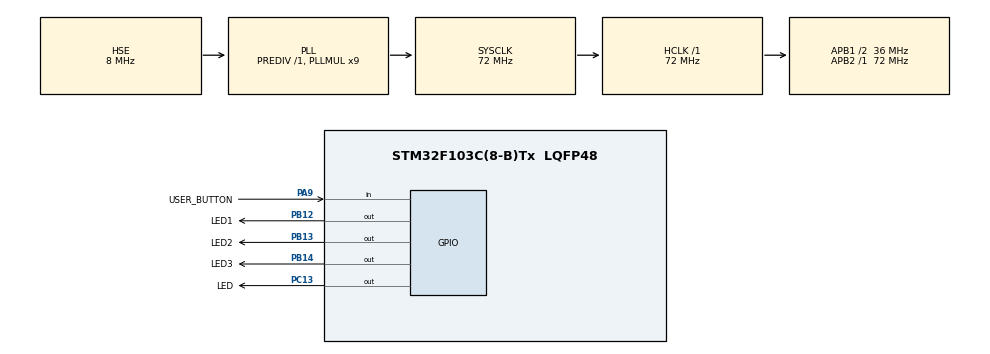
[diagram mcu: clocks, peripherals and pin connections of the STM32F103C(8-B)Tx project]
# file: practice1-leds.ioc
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Mcu.Family=STM32F1
Mcu.Name=STM32F103C(8-B)Tx
Mcu.Package=LQFP48
NVIC.PriorityGroup=NVIC_PRIORITYGROUP_4
PA9.GPIO_Label=USER_BUTTON
PA9.GPIO_PuPd=GPIO_NOPULL
PA9.Signal=GPIO_Input
PB12.GPIO_Label=LED1
PB12.Signal=GPIO_Output
PB13.GPIO_Label=LED2
PB13.Signal=GPIO_Output
PB14.GPIO_Label=LED3
PB14.Signal=GPIO_Output
PC13-TAMPER-RTC.GPIO_Label=LED
PC13-TAMPER-RTC.Signal=GPIO_Output
PD0-OSC_IN.Mode=HSE-External-Oscillator
PD0-OSC_IN.Signal=RCC_OSC_IN
PD1-OSC_OUT.Mode=HSE-External-Oscillator
PD1-OSC_OUT.Signal=RCC_OSC_OUT
ProjectManager.HeapSize=0x200
ProjectManager.StackSize=0x400
ProjectManager.TargetToolchain=Makefile
RCC.AHBFreq_Value=72000000
RCC.APB1CLKDivider=RCC_HCLK_DIV2
RCC.APB1Freq_Value=36000000
RCC.APB1TimFreq_Value=72000000
RCC.APB2Freq_Value=72000000
RCC.APB2TimFreq_Value=72000000
RCC.HCLKFreq_Value=72000000
RCC.PLLMUL=RCC_PLL_MUL9
RCC.PLLSourceVirtual=RCC_PLLSOURCE_HSE
RCC.SYSCLKFreq_VALUE=72000000
RCC.SYSCLKSource=RCC_SYSCLKSOURCE_PLLCLK
RCC.USBFreq_Value=72000000
VP_SYS_VS_ND.Mode=No_Debug
board=custom

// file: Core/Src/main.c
/* USER CODE BEGIN Header */
/**
  ******************************************************************************
  * @file           : main.c
  * @brief          : Main program body
  ******************************************************************************
  * @attention
  *
  * Copyright (c) 2023 STMicroelectronics.
  * All rights reserved.
  *
  * This software is licensed under terms that can be found in the LICENSE file
  * in the root directory of this software component.
  * If no LICENSE file comes with this software, it is provided AS-IS.
  *
  ******************************************************************************
  */
/* USER CODE END Header */
#include "main.h"

/* USER CODE BEGIN Includes */
#include <stdbool.h>
/* USER CODE END Includes */

/* USER CODE BEGIN PD */
#define LEDS_GPIO_Port GPIOB
#define LEDS_LENGTH 3

/* USER CODE END PD */

/* USER CODE BEGIN PV */
static uint16_t leds_arr[LEDS_LENGTH] = {LED1_Pin, LED2_Pin, LED3_Pin};

/* USER CODE END PV */

void SystemClock_Config(void);
static void MX_GPIO_Init(void);
/* USER CODE BEGIN PFP */
void led_blink(GPIO_TypeDef* led_port, uint16_t led_pin, uint32_t delay_ms);

/* USER CODE END PFP */

int main(void)
{

  /* MCU Configuration--------------------------------------------------------*/

  /* Reset of all peripherals, Initializes the Flash interface and the Systick. */
  HAL_Init();

  /* USER CODE BEGIN Init */
  /* FSM state variable */
  bool fsm_state = false;

  /* Circular buffer for LEDs sequence */
  cbuffer_t leds_cbuffer;
  cbuffer_init(&leds_cbuffer, leds_arr, LEDS_LENGTH);

  /* USER CODE END Init */

  /* Configure the system clock */
  SystemClock_Config();

  /* Initialize all configured peripherals */
  MX_GPIO_Init();

  /* Infinite loop */
  /* USER CODE BEGIN WHILE */
  while (1)
  {
    if (fsm_state)
    {
      led_blink(LEDS_GPIO_Port, cbuffer_prev(&leds_cbuffer), 200);
    }
    else
    {
      led_blink(LEDS_GPIO_Port, cbuffer_next(&leds_cbuffer), 200);
    }

    /* Toggle LEDs sequence with USER BUTTON (without anti-bounce) */
    if (HAL_GPIO_ReadPin(USER_BUTTON_GPIO_Port, USER_BUTTON_Pin))
    {
      fsm_state = !fsm_state;
    }

    /* USER CODE END WHILE */

  }
}

void SystemClock_Config(void)
{
  RCC_OscInitTypeDef RCC_OscInitStruct = {0};
  RCC_ClkInitTypeDef RCC_ClkInitStruct = {0};

  /** Initializes the RCC Oscillators according to the specified parameters
  * in the RCC_OscInitTypeDef structure.
  */
  RCC_OscInitStruct.OscillatorType = RCC_OSCILLATORTYPE_HSE;
  RCC_OscInitStruct.HSEState = RCC_HSE_ON;
  RCC_OscInitStruct.HSEPredivValue = RCC_HSE_PREDIV_DIV1;
  RCC_OscInitStruct.HSIState = RCC_HSI_ON;
  RCC_OscInitStruct.PLL.PLLState = RCC_PLL_ON;
  RCC_OscInitStruct.PLL.PLLSource = RCC_PLLSOURCE_HSE;
  RCC_OscInitStruct.PLL.PLLMUL = RCC_PLL_MUL9;
  if (HAL_RCC_OscConfig(&RCC_OscInitStruct) != HAL_OK)
  {
    Error_Handler();
  }

  /** Initializes the CPU, AHB and APB buses clocks
  */
  RCC_ClkInitStruct.ClockType = RCC_CLOCKTYPE_HCLK|RCC_CLOCKTYPE_SYSCLK
                              |RCC_CLOCKTYPE_PCLK1|RCC_CLOCKTYPE_PCLK2;
  RCC_ClkInitStruct.SYSCLKSource = RCC_SYSCLKSOURCE_PLLCLK;
  RCC_ClkInitStruct.AHBCLKDivider = RCC_SYSCLK_DIV1;
  RCC_ClkInitStruct.APB1CLKDivider = RCC_HCLK_DIV2;
  RCC_ClkInitStruct.APB2CLKDivider = RCC_HCLK_DIV1;

  if (HAL_RCC_ClockConfig(&RCC_ClkInitStruct, FLASH_LATENCY_2) != HAL_OK)
  {
    Error_Handler();
  }
}

static void MX_GPIO_Init(void)
{
  GPIO_InitTypeDef GPIO_InitStruct = {0};

  /* GPIO Ports Clock Enable */
  __HAL_RCC_GPIOC_CLK_ENABLE();
  __HAL_RCC_GPIOD_CLK_ENABLE();
  __HAL_RCC_GPIOB_CLK_ENABLE();
  __HAL_RCC_GPIOA_CLK_ENABLE();

  /*Configure GPIO pin Output Level */
  HAL_GPIO_WritePin(LED_GPIO_Port, LED_Pin, GPIO_PIN_RESET);

  /*Configure GPIO pin Output Level */
  HAL_GPIO_WritePin(GPIOB, LED1_Pin|LED2_Pin|LED3_Pin, GPIO_PIN_RESET);

  /*Configure GPIO pin : LED_Pin */
  GPIO_InitStruct.Pin = LED_Pin;
  GPIO_InitStruct.Mode = GPIO_MODE_OUTPUT_PP;
  GPIO_InitStruct.Pull = GPIO_NOPULL;
  GPIO_InitStruct.Speed = GPIO_SPEED_FREQ_LOW;
  HAL_GPIO_Init(LED_GPIO_Port, &GPIO_InitStruct);

  /*Configure GPIO pins : LED1_Pin LED2_Pin LED3_Pin */
  GPIO_InitStruct.Pin = LED1_Pin|LED2_Pin|LED3_Pin;
  GPIO_InitStruct.Mode = GPIO_MODE_OUTPUT_PP;
  GPIO_InitStruct.Pull = GPIO_NOPULL;
  GPIO_InitStruct.Speed = GPIO_SPEED_FREQ_LOW;
  HAL_GPIO_Init(GPIOB, &GPIO_InitStruct);

  /*Configure GPIO pin : USER_BUTTON_Pin */
  GPIO_InitStruct.Pin = USER_BUTTON_Pin;
  GPIO_InitStruct.Mode = GPIO_MODE_INPUT;
  GPIO_InitStruct.Pull = GPIO_NOPULL;
  HAL_GPIO_Init(USER_BUTTON_GPIO_Port, &GPIO_InitStruct);

}

/* USER CODE BEGIN 4 */
/**
  * @brief Blink LED with a given delay.
  * @param led_port: pointer to the LED port
  * @param led_pin: LED pin
  * @param delay_ms: Blink period in miliseconds
  * @retval None
  */
void led_blink(GPIO_TypeDef *led_port, uint16_t led_pin, uint32_t delay_ms)
{
  HAL_GPIO_TogglePin(led_port, led_pin);
  HAL_Delay(delay_ms);
  HAL_GPIO_TogglePin(led_port, led_pin);
  HAL_Delay(delay_ms);
}

/* USER CODE END 4 */

void Error_Handler(void)
{
  __disable_irq();
  while (1)
  {
  }
}
